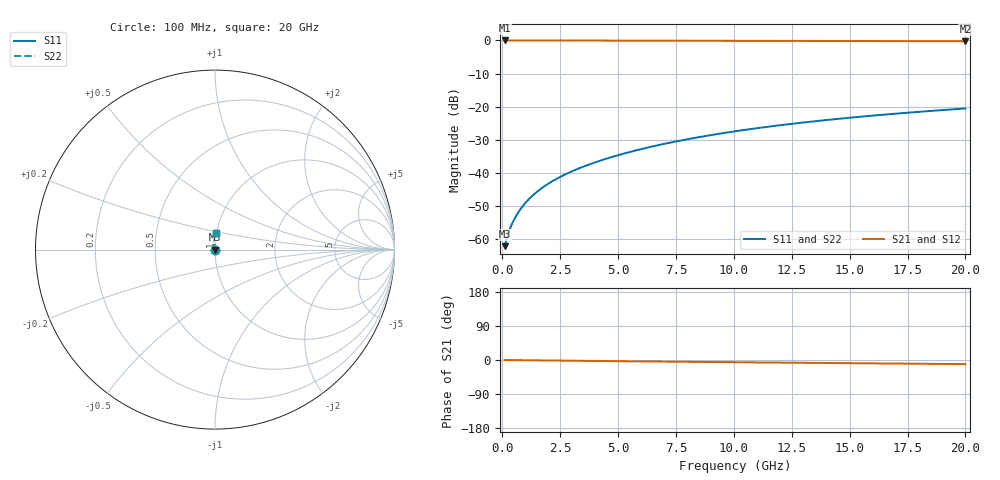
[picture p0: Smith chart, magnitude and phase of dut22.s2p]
! Touchstone file exported from HFSS 2024.1.0
!  File:  C:/UserFiles/LocalFiles/RDL_TSV_Batchsim/temp_RDL_bottom_22_1778691786.aedt
!  Generated:  01:05:12 AM May 14, 2026
!  Design:  RDL_bottom
!  Project:  temp_RDL_bottom_22_1778691786
!  Setup:  Setup1
!  Solution:  Sweep
! Variables:
!  dtsv = 10.80580581um
!  hbump = 3um
!  htsv = 76.22um
!  ldown = 155.51um
!  lrdl = 100um
!  p = 40
!  p1 = 43.99um
!  rhole = 1um
!  t = 450um
!  tdown = 4.39um
!  trdl = 3.915915916um
!  wdown = 27.71um
!  wrdl = 20um
# GHz S MA R 50.000000
! Terminal data exported
! Port[1] = RDL1_T1
! Port[2] = RDL1_T2
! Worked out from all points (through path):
!   200 points, 100 MHz to 20 GHz, reference 50 ohm
!   highest |S21| = -0.01 dB at 100 MHz (marker M1); lowest = -0.2 dB at 20 GHz (marker M2)
!   group delay of S21, straight-line fit = 1.48 ps
!   lowest |S11| = -62.2 dB at 100 MHz (marker M3), VSWR 1.00, Z = 50.1 + j0.0414 ohm
!   |S11| at or under -10 dB: start of sweep to end of sweep
!   |S22| runs from -62.2 to -20.6 dB; largest |S21 - S12| = 3.6e-15
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0.1  0.0007773 32.2  0.9993 -0.1  0.9993 -0.1  0.0007773 32.2
! Gamma 0 0 0 0
! Port Impedance 50 0 50 0
0.2  0.001056 47.7  0.9993 -0.1  0.9993 -0.1  0.001056 47.7
0.3  0.001345 56.2  0.9992 -0.2  0.9992 -0.2  0.001345 56.2
0.4  0.001636 62.0  0.9992 -0.3  0.9992 -0.3  0.001636 62.0
0.5  0.001933 66.4  0.9991 -0.3  0.9991 -0.3  0.001933 66.4
0.6  0.002237 69.9  0.9991 -0.4  0.9991 -0.4  0.002237 69.9
0.8  0.002863 74.8  0.999 -0.5  0.999 -0.5  0.002863 74.8
1  0.003507 78.3  0.9989 -0.7  0.9989 -0.7  0.003507 78.3
1.2  0.004163 80.8  0.9988 -0.8  0.9988 -0.8  0.004163 80.8
1.7  0.005847 85.1  0.9984 -1.1  0.9984 -1.1  0.005847 85.1
2.2  0.007585 87.9  0.9979 -1.4  0.9979 -1.4  0.007585 87.9
2.8  0.009744 90.2  0.9972 -1.8  0.9972 -1.8  0.009744 90.2
3.5  0.01237 92.2  0.9963 -2.2  0.9963 -2.2  0.01237 92.2
4.2  0.01513 93.7  0.9953 -2.7  0.9953 -2.7  0.01513 93.7
5  0.01844 94.8  0.994 -3.1  0.994 -3.1  0.01844 94.8
6.8  0.02645 96.1  0.9909 -4.2  0.9909 -4.2  0.02645 96.1
8.4  0.03411 96.0  0.9883 -5.0  0.9883 -5.0  0.03411 96.0
10.1  0.0426 95.4  0.9856 -5.9  0.9856 -5.9  0.0426 95.4
11.7  0.05078 94.4  0.9834 -6.7  0.9834 -6.7  0.05078 94.4
13.4  0.05958 93.1  0.9811 -7.6  0.9811 -7.6  0.05958 93.1
16.7  0.07672 90.6  0.9773 -9.2  0.9773 -9.2  0.07672 90.6
20  0.09372 88.0  0.9738 -10.9  0.9738 -10.9  0.09372 88.0
